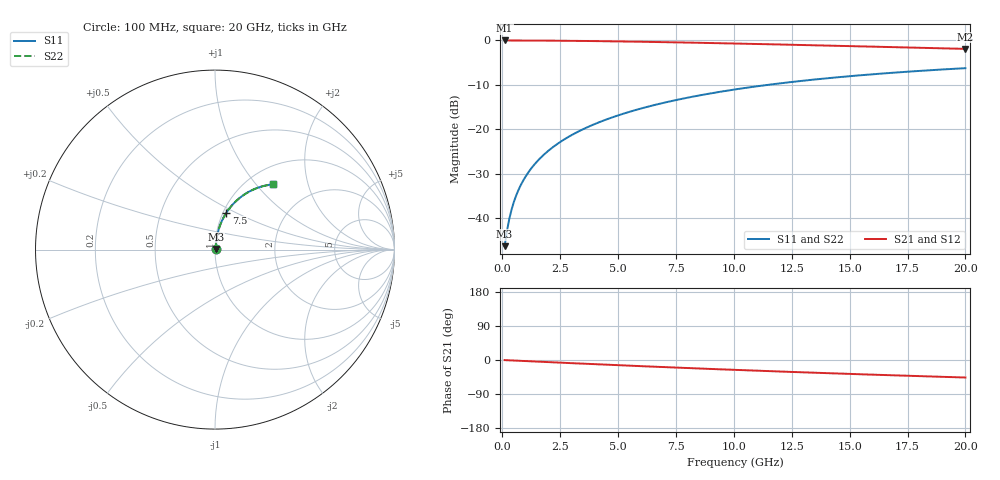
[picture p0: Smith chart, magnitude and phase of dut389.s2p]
! Touchstone file exported from HFSS 2024.1.0
!  File:  C:/UserFiles/LocalFiles/RDL_TSV_Batchsim/temp_RDL_top_389_1779609754.aedt
!  Generated:  04:05:23 PM May 24, 2026
!  Design:  RDL_top
!  Project:  temp_RDL_top_389_1779609754
!  Setup:  Setup1
!  Solution:  Sweep
! Variables:
!  dtsv = 10.80580581um
!  hbump = 3um
!  htsv = 59.8um
!  ldown = 100um
!  lrdl = 605.49um
!  p = 40
!  p1 = 55.44um
!  rhole = 1um
!  t = 450um
!  tdown = 3.915915916um
!  trdl = 3.71um
!  wdown = 15.38538539um
!  wrdl = 15.5um
# GHz S MA R 50.000000
! Terminal data exported
! Port[1] = Box2_T1
! Port[2] = Box2_T2
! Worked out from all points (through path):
!   200 points, 100 MHz to 20 GHz, reference 50 ohm
!   highest |S21| = -0.03 dB at 100 MHz (marker M1); lowest = -1.9 dB at 20 GHz (marker M2)
!   group delay of S21, straight-line fit = 6.4 ps
!   lowest |S11| = -46.2 dB at 100 MHz (marker M3), VSWR 1.01, Z = 50.4 + j0.303 ohm
!   |S11| at or under -10 dB: start of sweep to 11.48 GHz
!   |S22| runs from -46.2 to -6.3 dB; largest |S21 - S12| = 3.1e-15
!   S11 on the Smith chart (normalised r, x): 100 MHz: 1.01, +0.01; 7.5 GHz: 1.04, +0.44; 20 GHz: 1.29, +1.23
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0.1  0.004877 38.1  0.9962 -0.3  0.9962 -0.3  0.004877 38.1
! Gamma 0 0 0 0
! Port Impedance 50 0 50 0
0.2  0.007173 56.6  0.996 -0.6  0.996 -0.6  0.007173 56.6
0.3  0.009814 65.3  0.9959 -0.9  0.9959 -0.9  0.009814 65.3
0.4  0.01255 70.1  0.9957 -1.1  0.9957 -1.1  0.01255 70.1
0.5  0.01532 73.1  0.9955 -1.4  0.9955 -1.4  0.01532 73.1
0.6  0.01811 75.2  0.9954 -1.7  0.9954 -1.7  0.01811 75.2
0.8  0.02371 77.8  0.995 -2.3  0.995 -2.3  0.02371 77.8
1.1  0.03217 79.9  0.9943 -3.1  0.9943 -3.1  0.03217 79.9
1.5  0.04353 81.1  0.9932 -4.2  0.9932 -4.2  0.04353 81.1
1.8  0.05209 81.4  0.9922 -5.1  0.9922 -5.1  0.05208 81.4
2.1  0.06065 81.5  0.991 -5.9  0.991 -5.9  0.06065 81.5
2.7  0.07782 81.2  0.9882 -7.5  0.9882 -7.5  0.07781 81.2
3.5  0.1007 80.3  0.9835 -9.7  0.9835 -9.7  0.1007 80.3
4.2  0.1207 79.3  0.9786 -11.6  0.9786 -11.6  0.1207 79.2
5  0.1435 77.9  0.9723 -13.7  0.9723 -13.7  0.1435 77.9
5.9  0.1689 76.2  0.9644 -16.0  0.9644 -16.0  0.1689 76.2
6.8  0.194 74.4  0.9557 -18.3  0.9557 -18.3  0.194 74.4
7.5  0.2133 73.0  0.9486 -20.0  0.9486 -20.0  0.2132 73.0
10.1  0.282 67.6  0.9199 -26.2  0.9199 -26.2  0.2819 67.6
13.4  0.3609 60.8  0.8805 -33.4  0.8805 -33.4  0.3608 60.8
16.7  0.4292 54.3  0.8403 -40.1  0.8403 -40.1  0.429 54.3
20  0.4866 48.4  0.8011 -46.2  0.8011 -46.2  0.4864 48.3
